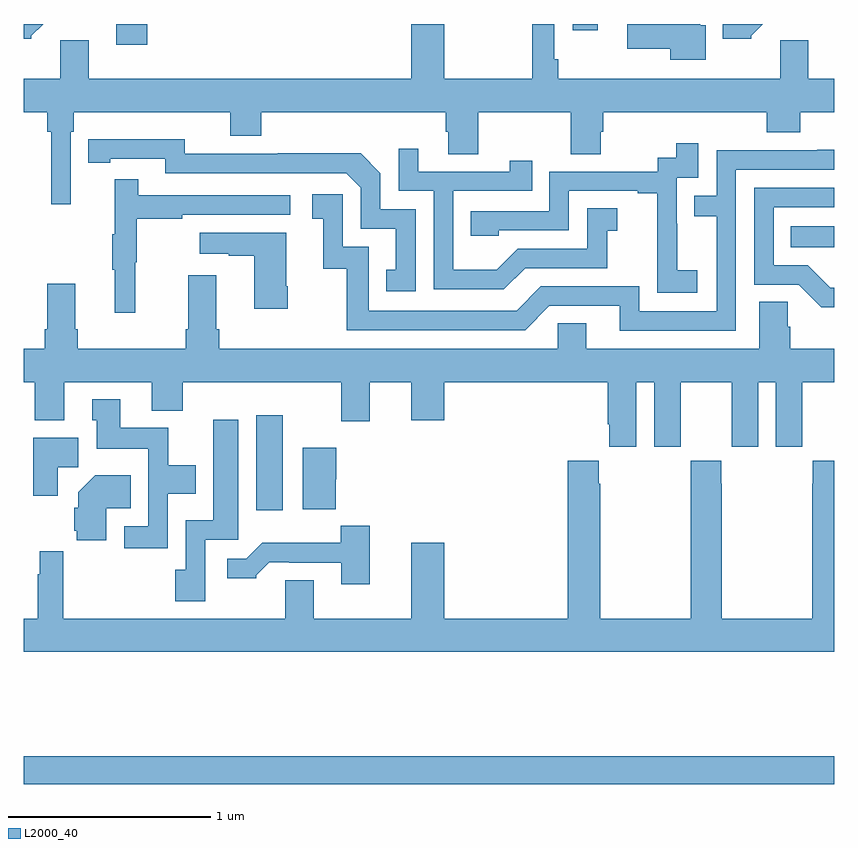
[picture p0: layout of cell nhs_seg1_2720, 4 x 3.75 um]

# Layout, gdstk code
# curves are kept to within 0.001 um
import gdstk
lib = gdstk.Library(unit=1e-6, precision=1e-09)
def R(c, l, rs):  # rectangles x0, y0, x1, y1
    for r in rs: c.add(gdstk.rectangle(r[:2], r[2:], *l))
def P(c, l, *ps):  # polygons
    for p in ps: c.add(gdstk.Polygon(p, *l))
L2000_40 = (2000, 40)

nhs_seg1_2720 = lib.new_cell('nhs_seg1_2720')
R(nhs_seg1_2720, L2000_40, [(259,516.448,263,516.584), (260.147,517.8,260.278,518.269), (262.786,519.098,263,519.202), (259.457,520.097,259.61,520.199), (261.71,520.167,261.832,520.199)])
P(nhs_seg1_2720, L2000_40, [(259.038,520.142),(259.095,520.199),(259,520.199),(259,520.127),(259.038,520.127)],
  [(262.59,520.142),(262.647,520.199),(262.451,520.199),(262.451,520.127),(262.59,520.127)],
  [(262.366,520.194),(262.338,520.194),(262.338,520.199),(262.242,520.199),(262.242,520.198),(261.978,520.198),(261.978,520.076),(262.19,520.076),(262.19,520.022),(262.366,520.022)],
  [(259.233,519.668),(259.247,519.668),(259.247,519.764),(260.018,519.764),(260.018,519.647),(260.171,519.647),(260.171,519.764),(261.083,519.764),(261.083,519.666),(261.095,519.666),(261.095,519.556),(261.243,519.556),(261.243,519.764),(261.7,519.764),(261.7,519.556),(261.847,519.556),(261.847,519.666),(261.86,519.666),(261.86,519.764),(262.667,519.764),(262.667,519.665),(262.832,519.665),(262.832,519.764),(263,519.764),(263,519.928),(262.873,519.928),(262.873,520.118),(262.733,520.118),(262.733,519.928),(261.638,519.928),(261.638,520.024),(261.618,520.024),(261.618,520.199),(261.51,520.199),(261.51,519.928),(261.076,519.928),(261.076,520.199),(260.912,520.199),(260.912,519.928),(259.321,519.928),(259.321,520.118),(259.181,520.118),(259.181,519.928),(259,519.928),(259,519.764),(259.117,519.764),(259.117,519.668),(259.136,519.668),(259.136,519.309),(259.233,519.309)],
  [(260.934,519.285),(260.76,519.285),(260.76,519.462),(260.662,519.56),(260.254,519.56),(260.254,519.558),(259.794,519.558),(259.794,519.631),(259.318,519.63),(259.318,519.514),(259.426,519.514),(259.426,519.534),(259.698,519.534),(259.698,519.462),(260.592,519.462),(260.664,519.39),(260.664,519.189),(260.837,519.189),(260.837,518.985),(260.788,518.985),(260.788,518.88),(260.934,518.88)],
  [(262.324,518.983),(262.226,518.983),(262.226,519.212),(262.224,519.212),(262.224,519.441),(262.329,519.441),(262.329,519.61),(262.221,519.61),(262.221,519.54),(262.128,519.54),(262.128,519.471),(261.594,519.471),(261.594,519.276),(261.205,519.276),(261.205,519.153),(261.345,519.153),(261.345,519.18),(261.69,519.18),(261.69,519.375),(262.031,519.375),(262.031,519.363),(262.127,519.363),(262.127,519.079),(262.126,519.079),(262.126,518.873),(262.324,518.873)],
  [(261.475,518.994),(261.879,518.994),(261.879,519.179),(261.928,519.179),(261.928,519.289),(261.78,519.289),(261.78,519.09),(261.438,519.09),(261.334,518.986),(261.12,518.986),(261.12,519.375),(261.509,519.375),(261.509,519.523),(261.398,519.523),(261.398,519.471),(260.947,519.471),(260.947,519.583),(260.85,519.583),(260.85,519.375),(261.024,519.375),(261.024,518.889),(261.37,518.889)],
  [(262.515,519.48),(263,519.48),(263,519.578),(262.915,519.578),(262.915,519.576),(262.419,519.576),(262.419,519.351),(262.309,519.351),(262.309,519.25),(262.419,519.25),(262.419,518.781),(262.038,518.781),(262.038,518.904),(261.552,518.904),(261.432,518.784),(260.703,518.784),(260.703,519.099),(260.574,519.099),(260.574,519.358),(260.424,519.358),(260.424,519.237),(260.477,519.237),(260.477,518.991),(260.595,518.991),(260.595,518.688),(261.474,518.688),(261.594,518.808),(261.941,518.808),(261.941,518.685),(262.515,518.685)],
  [(259.55,519.024),(259.558,519.024),(259.558,519.238),(259.781,519.238),(259.781,519.258),(260.314,519.258),(260.314,519.354),(259.565,519.354),(259.565,519.433),(259.448,519.433),(259.448,519.161),(259.437,519.161),(259.437,518.987),(259.448,518.987),(259.448,518.775),(259.55,518.775)],
  [(263,518.898),(262.981,518.898),(262.87,519.009),(262.701,519.009),(262.701,519.294),(263,519.294),(263,519.39),(262.605,519.39),(262.605,518.913),(262.824,518.913),(262.937,518.801),(263,518.801)],
  [(260.304,518.905),(260.296,518.905),(260.296,519.169),(259.869,519.169),(259.869,519.065),(260.012,519.065),(260.012,519.055),(260.138,519.055),(260.138,518.793),(260.304,518.793)],
  [(262.024,518.432),(262.112,518.432),(262.112,518.112),(262.242,518.112),(262.242,518.224),(262.243,518.224),(262.243,518.432),(262.493,518.432),(262.493,518.224),(262.494,518.224),(262.494,518.112),(262.624,518.112),(262.624,518.432),(262.712,518.432),(262.712,518.112),(262.842,518.112),(262.842,518.224),(262.843,518.224),(262.843,518.432),(263,518.432),(263,518.596),(262.784,518.596),(262.784,518.705),(262.77,518.705),(262.77,518.828),(262.631,518.828),(262.631,518.596),(261.775,518.596),(261.775,518.723),(261.636,518.723),(261.636,518.596),(259.964,518.596),(259.964,518.692),(259.951,518.692),(259.951,518.959),(259.811,518.959),(259.811,518.692),(259.799,518.692),(259.799,518.596),(259.267,518.596),(259.267,518.692),(259.255,518.692),(259.255,518.917),(259.115,518.917),(259.115,518.692),(259.103,518.692),(259.103,518.596),(259,518.596),(259,518.432),(259.054,518.432),(259.054,518.243),(259.201,518.243),(259.201,518.432),(259.631,518.432),(259.631,518.291),(259.784,518.291),(259.784,518.432),(260.567,518.432),(260.567,518.238),(260.707,518.238),(260.707,518.432),(260.912,518.432),(260.912,518.244),(261.076,518.244),(261.076,518.432),(261.881,518.432),(261.881,518.224),(261.89,518.224),(261.89,518.112),(262.024,518.112)],
  [(259.71,517.88),(259.849,517.88),(259.849,518.02),(259.713,518.02),(259.713,518.206),(259.477,518.206),(259.477,518.347),(259.337,518.347),(259.337,518.244),(259.361,518.244),(259.361,518.102),(259.614,518.102),(259.614,517.719),(259.497,517.719),(259.497,517.611),(259.71,517.611)],
  [(259.896,517.653),(260.059,517.653),(260.059,518.245),(259.934,518.245),(259.934,517.75),(259.8,517.75),(259.8,517.506),(259.748,517.506),(259.748,517.35),(259.896,517.35)],
  [(259.168,518.011),(259.27,518.011),(259.27,518.158),(259.046,518.158),(259.046,517.871),(259.168,517.871)],
  [(260.54,517.953),(260.542,517.953),(260.542,518.107),(260.378,518.107),(260.378,517.805),(260.54,517.805)],
  [(263,518.044),(262.893,518.044),(262.893,517.931),(262.891,517.931),(262.891,517.264),(262.446,517.264),(262.446,517.931),(262.443,517.931),(262.443,518.044),(262.293,518.044),(262.293,517.931),(262.291,517.931),(262.291,517.264),(261.846,517.264),(261.846,517.931),(261.839,517.931),(261.839,518.044),(261.686,518.044),(261.686,517.264),(261.076,517.264),(261.076,517.639),(260.912,517.639),(260.912,517.264),(260.431,517.264),(260.431,517.454),(260.291,517.454),(260.291,517.264),(259.196,517.264),(259.196,517.597),(259.08,517.597),(259.08,517.484),(259.068,517.484),(259.068,517.264),(259,517.264),(259,517.1),(263,517.1)],
  [(259.408,517.808),(259.529,517.808),(259.529,517.972),(259.352,517.972),(259.268,517.888),(259.268,517.812),(259.25,517.812),(259.25,517.698),(259.261,517.698),(259.261,517.651),(259.408,517.651)],
  [(260.707,517.723),(260.565,517.723),(260.565,517.639),(260.176,517.639),(260.097,517.56),(260.004,517.56),(260.004,517.463),(260.148,517.463),(260.148,517.478),(260.212,517.542),(260.311,517.542),(260.311,517.539),(260.567,517.539),(260.567,517.434),(260.707,517.434)])

lib.write_gds('nhs_seg1_2720.gds')
